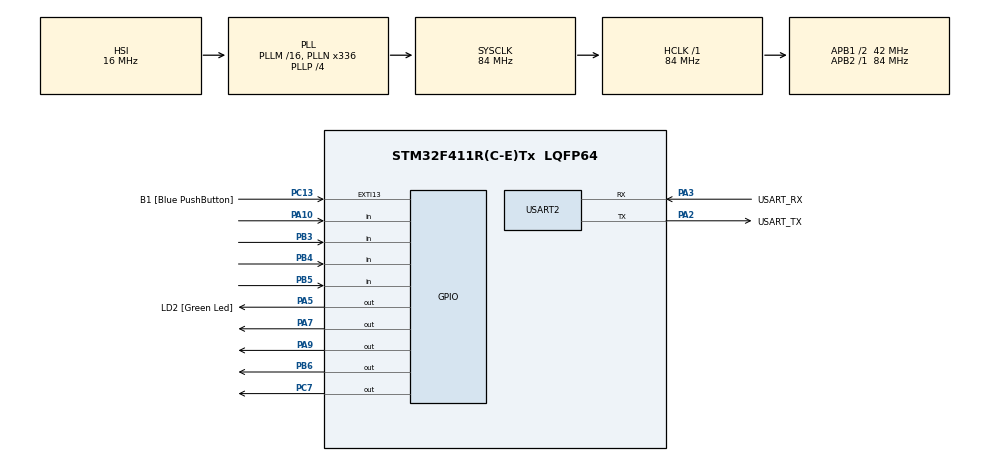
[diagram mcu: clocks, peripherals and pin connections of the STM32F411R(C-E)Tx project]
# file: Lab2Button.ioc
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Mcu.Family=STM32F4
Mcu.Name=STM32F411R(C-E)Tx
Mcu.Package=LQFP64
NVIC.PriorityGroup=NVIC_PRIORITYGROUP_0
PA10.GPIO_PuPd=GPIO_PULLUP
PA10.Signal=GPIO_Input
PA13.GPIO_Label=TMS
PA13.Mode=Serial_Wire
PA13.Signal=SYS_JTMS-SWDIO
PA14.GPIO_Label=TCK
PA14.Mode=Serial_Wire
PA14.Signal=SYS_JTCK-SWCLK
PA2.GPIO_Label=USART_TX
PA2.Mode=Asynchronous
PA2.Signal=USART2_TX
PA3.GPIO_Label=USART_RX
PA3.Mode=Asynchronous
PA3.Signal=USART2_RX
PA5.GPIO_Label=LD2 [Green Led]
PA5.Signal=GPIO_Output
PA7.GPIO_ModeDefaultOutputPP=GPIO_MODE_OUTPUT_OD
PA7.PinState=GPIO_PIN_SET
PA7.Signal=GPIO_Output
PA9.GPIO_ModeDefaultOutputPP=GPIO_MODE_OUTPUT_OD
PA9.PinState=GPIO_PIN_SET
PA9.Signal=GPIO_Output
PB3.GPIO_PuPd=GPIO_PULLUP
PB3.Signal=GPIO_Input
PB4.GPIO_PuPd=GPIO_PULLUP
PB4.Signal=GPIO_Input
PB5.GPIO_PuPd=GPIO_PULLUP
PB5.Signal=GPIO_Input
PB6.GPIO_ModeDefaultOutputPP=GPIO_MODE_OUTPUT_OD
PB6.PinState=GPIO_PIN_SET
PB6.Signal=GPIO_Output
PC13-ANTI_TAMP.GPIO_Label=B1 [Blue PushButton]
PC13-ANTI_TAMP.GPIO_ModeDefaultEXTI=GPIO_MODE_IT_FALLING
PC13-ANTI_TAMP.Signal=GPXTI13
PC14-OSC32_IN.Mode=LSE-External-Oscillator
PC14-OSC32_IN.Signal=RCC_OSC32_IN
PC15-OSC32_OUT.Mode=LSE-External-Oscillator
PC15-OSC32_OUT.Signal=RCC_OSC32_OUT
PC7.GPIO_ModeDefaultOutputPP=GPIO_MODE_OUTPUT_OD
PC7.PinState=GPIO_PIN_SET
PC7.Signal=GPIO_Output
PH0\ -\ OSC_IN.Mode=HSE-External-Clock-Source
PH0\ -\ OSC_IN.Signal=RCC_OSC_IN
PH1\ -\ OSC_OUT.Mode=HSE-External-Clock-Source
PH1\ -\ OSC_OUT.Signal=RCC_OSC_OUT
ProjectManager.HeapSize=0x200
ProjectManager.StackSize=0x400
ProjectManager.TargetToolchain=STM32CubeIDE
RCC.48MHZClocksFreq_Value=84000000
RCC.AHBFreq_Value=84000000
RCC.APB1CLKDivider=RCC_HCLK_DIV2
RCC.APB1Freq_Value=42000000
RCC.APB1TimFreq_Value=84000000
RCC.APB2Freq_Value=84000000
RCC.APB2TimFreq_Value=84000000
RCC.CortexFreq_Value=84000000
RCC.FLatency-AdvancedSettings=FLASH_LATENCY_2
RCC.HCLKFreq_Value=84000000
RCC.HSE_VALUE=8000000
RCC.HSI_VALUE=16000000
RCC.PLLN=336
RCC.PLLP=RCC_PLLP_DIV4
RCC.SYSCLKFreq_VALUE=84000000
RCC.SYSCLKSource=RCC_SYSCLKSOURCE_PLLCLK
RCC.VCOOutputFreq_Value=336000000
USART2.VirtualMode=VM_ASYNC
board=NUCLEO-F411RE

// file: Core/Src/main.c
/* USER CODE BEGIN Header */
/**
  ******************************************************************************
  * @file           : main.c
  * @brief          : Main program body
  ******************************************************************************
  * @attention
  *
  * <h2><center>&copy; Copyright (c) 2021 STMicroelectronics.
  * All rights reserved.</center></h2>
  *
  * This software component is licensed by ST under BSD 3-Clause license,
  * the "License"; You may not use this file except in compliance with the
  * License. You may obtain a copy of the License at:
  *                        opensource.org/licenses/BSD-3-Clause
  *
  ******************************************************************************
  */
/* USER CODE END Header */
#include "main.h"

UART_HandleTypeDef huart2;

/* USER CODE BEGIN PV */
uint16_t ButtonMatrixState=0;
uint32_t ButtonMatrixTimestamp=0;
enum s{
	s0=0,s1=1,s2=2,s3=3,s4=4,s5=5,s6=6,s7=7,s8=8,s9=9,s10=10,s11=11,s12=12,s13=13
};
uint8_t loop=0;
/* USER CODE END PV */

void SystemClock_Config(void);
static void MX_GPIO_Init(void);
static void MX_USART2_UART_Init(void);
/* USER CODE BEGIN PFP */
void ButtonMatrixUpdate();
/* USER CODE END PFP */

int main(void)
{

  /* MCU Configuration--------------------------------------------------------*/

  /* Reset of all peripherals, Initializes the Flash interface and the Systick. */
  HAL_Init();

  /* Configure the system clock */
  SystemClock_Config();

  /* Initialize all configured peripherals */
  MX_GPIO_Init();
  MX_USART2_UART_Init();

  /* Infinite loop */
  while (1)
  {

    /* USER CODE BEGIN 3 */
	  ButtonMatrixUpdate();
	  	  if(loop==s0)
	  	  {
switch(ButtonMatrixState)
{
case 0x40:
	ButtonMatrixState=0;
	 loop=s1;
	 break;
case 0:
	break;
case 0b1000:
	loop=s0;
	break;
default:
	loop=s12;
	break;
}

	  	  }
	  	  else if(loop==s1)
	  	  {
switch(ButtonMatrixState)
{
case 0b1000000000:
	ButtonMatrixState=0;
	 loop=s2;
case 0:
	break;
case 0b1000:
	loop=s0;
default:
	loop=s12;
}

	  	  }
	  	  else if(loop==s2)
	  	  	{

switch(ButtonMatrixState)
{
case 0b10000000000:
	ButtonMatrixState=0;
	 loop=s3;
case 0:
	break;
case 0b1000:
	loop=s0;
default:
	loop=s12;
}
	  	  	 }
	  	  else if(loop==s3)
	  	  	  {
switch(ButtonMatrixState)
{
case 0b10000:
	ButtonMatrixState=0;
   loop=s4;
case 0:
	break;
case 0b1000:
	loop=s0;
default:
	loop=s12;
}
              }
	  	  else if(loop==s4)
	  	  	  	  {
switch(ButtonMatrixState)
{
case 0b1000000000000:
	ButtonMatrixState=0;
   loop=s5;
case 0:
	break;
case 0b1000:
	loop=s0;
default:
	loop=s12;
}
	  	  	  	  }
	  	  else if(loop==s5)
	  	  	  	  {
switch(ButtonMatrixState)
{
case 0b100000:
	ButtonMatrixState=0;
   loop=s6;
case 0:
	break;
case 0b1000:
	loop=s0;
default:
	loop=s12;
}
	  	  	  	  }
	  	  else if(loop==s6)
	  	  	  	  {
switch(ButtonMatrixState)
{
case 0b1000000000000:
	ButtonMatrixState=0;
   loop=s7;
case 0:
	break;
case 0b1000:
	loop=s0;
default:
	loop=s12;
}
	  	  	  	  }
	  	  else if(loop==s7)
	  	  	  	  	  {
switch(ButtonMatrixState)
{
case 0b1000000000000:
	ButtonMatrixState=0;
   loop=s8;
case 0:
	break;
case 0b1000:
	loop=s0;
default:
	loop=s12;
}
	  	  	  	  	  }
	  	  else if(loop==s8)
	  	  	  	  {
switch(ButtonMatrixState)
{
case 0b1000000000000:
	ButtonMatrixState=0;
   loop=s9;
case 0:
	break;
case 0b1000:
	loop=s0;
default:
	loop=s12;
}
	  	  	  	  }
	  	  else if(loop==s9)
	  	  	  	  {
switch(ButtonMatrixState)
{
case 0b100000000:
	ButtonMatrixState=0;
   loop=s10;
case 0:
	break;
case 0b1000:
	loop=s0;
default:
	loop=s12;
}
	  	  	  	  }
	  	  else if(loop==s10)
	  	  	  	  	  {
switch(ButtonMatrixState)
{
case 0b100000:
	ButtonMatrixState=0;
   loop=s11;
case 0:
	break;
case 0b1000:
	loop=s0;
default:
	loop=s12;
}
	  	  	  	  	  }
	  	  else if(loop==s11)
	  	  	  	  {
switch(ButtonMatrixState)
{
case 0x8000:
	ButtonMatrixState=0;
   HAL_GPIO_WritePin(GPIOA, GPIO_PIN_5, 1);
   loop=s11;
case 0:
	break;
case 0b1000:
	HAL_GPIO_WritePin(GPIOA, GPIO_PIN_5, 0);
	loop=s0;
default:
	loop=s12;
}
	  	  	  	  }
	  	  else if(loop==s12)
	  	  {
switch(ButtonMatrixState)
{
case 0b1000:
	ButtonMatrixState=0;
	loop=s0;
default:
	loop=s13;
}
	  	  }
	  	else if(loop==s13)
	  		  	  {
switch(ButtonMatrixState)
{
case 0b1000:
	ButtonMatrixState=0;
	loop=s0;
}
	  		  	  }

  }
  /* USER CODE END 3 */
}

void SystemClock_Config(void)
{
  RCC_OscInitTypeDef RCC_OscInitStruct = {0};
  RCC_ClkInitTypeDef RCC_ClkInitStruct = {0};

  /** Configure the main internal regulator output voltage
  */
  __HAL_RCC_PWR_CLK_ENABLE();
  __HAL_PWR_VOLTAGESCALING_CONFIG(PWR_REGULATOR_VOLTAGE_SCALE1);
  /** Initializes the RCC Oscillators according to the specified parameters
  * in the RCC_OscInitTypeDef structure.
  */
  RCC_OscInitStruct.OscillatorType = RCC_OSCILLATORTYPE_HSI;
  RCC_OscInitStruct.HSIState = RCC_HSI_ON;
  RCC_OscInitStruct.HSICalibrationValue = RCC_HSICALIBRATION_DEFAULT;
  RCC_OscInitStruct.PLL.PLLState = RCC_PLL_ON;
  RCC_OscInitStruct.PLL.PLLSource = RCC_PLLSOURCE_HSI;
  RCC_OscInitStruct.PLL.PLLM = 16;
  RCC_OscInitStruct.PLL.PLLN = 336;
  RCC_OscInitStruct.PLL.PLLP = RCC_PLLP_DIV4;
  RCC_OscInitStruct.PLL.PLLQ = 4;
  if (HAL_RCC_OscConfig(&RCC_OscInitStruct) != HAL_OK)
  {
    Error_Handler();
  }
  /** Initializes the CPU, AHB and APB buses clocks
  */
  RCC_ClkInitStruct.ClockType = RCC_CLOCKTYPE_HCLK|RCC_CLOCKTYPE_SYSCLK
                              |RCC_CLOCKTYPE_PCLK1|RCC_CLOCKTYPE_PCLK2;
  RCC_ClkInitStruct.SYSCLKSource = RCC_SYSCLKSOURCE_PLLCLK;
  RCC_ClkInitStruct.AHBCLKDivider = RCC_SYSCLK_DIV1;
  RCC_ClkInitStruct.APB1CLKDivider = RCC_HCLK_DIV2;
  RCC_ClkInitStruct.APB2CLKDivider = RCC_HCLK_DIV1;

  if (HAL_RCC_ClockConfig(&RCC_ClkInitStruct, FLASH_LATENCY_2) != HAL_OK)
  {
    Error_Handler();
  }
}

static void MX_USART2_UART_Init(void)
{

  huart2.Instance = USART2;
  huart2.Init.BaudRate = 115200;
  huart2.Init.WordLength = UART_WORDLENGTH_8B;
  huart2.Init.StopBits = UART_STOPBITS_1;
  huart2.Init.Parity = UART_PARITY_NONE;
  huart2.Init.Mode = UART_MODE_TX_RX;
  huart2.Init.HwFlowCtl = UART_HWCONTROL_NONE;
  huart2.Init.OverSampling = UART_OVERSAMPLING_16;
  if (HAL_UART_Init(&huart2) != HAL_OK)
  {
    Error_Handler();
  }

}

static void MX_GPIO_Init(void)
{
  GPIO_InitTypeDef GPIO_InitStruct = {0};

  /* GPIO Ports Clock Enable */
  __HAL_RCC_GPIOC_CLK_ENABLE();
  __HAL_RCC_GPIOH_CLK_ENABLE();
  __HAL_RCC_GPIOA_CLK_ENABLE();
  __HAL_RCC_GPIOB_CLK_ENABLE();

  /*Configure GPIO pin Output Level */
  HAL_GPIO_WritePin(LD2_GPIO_Port, LD2_Pin, GPIO_PIN_RESET);

  /*Configure GPIO pin Output Level */
  HAL_GPIO_WritePin(GPIOA, GPIO_PIN_7|GPIO_PIN_9, GPIO_PIN_SET);

  /*Configure GPIO pin Output Level */
  HAL_GPIO_WritePin(GPIOC, GPIO_PIN_7, GPIO_PIN_SET);

  /*Configure GPIO pin Output Level */
  HAL_GPIO_WritePin(GPIOB, GPIO_PIN_6, GPIO_PIN_SET);

  /*Configure GPIO pin : B1_Pin */
  GPIO_InitStruct.Pin = B1_Pin;
  GPIO_InitStruct.Mode = GPIO_MODE_IT_FALLING;
  GPIO_InitStruct.Pull = GPIO_NOPULL;
  HAL_GPIO_Init(B1_GPIO_Port, &GPIO_InitStruct);

  /*Configure GPIO pins : LD2_Pin PA7 PA9 */
  GPIO_InitStruct.Pin = LD2_Pin|GPIO_PIN_7|GPIO_PIN_9;
  GPIO_InitStruct.Mode = GPIO_MODE_OUTPUT_PP;
  GPIO_InitStruct.Pull = GPIO_NOPULL;
  GPIO_InitStruct.Speed = GPIO_SPEED_FREQ_LOW;
  HAL_GPIO_Init(GPIOA, &GPIO_InitStruct);

  /*Configure GPIO pin : PC7 */
  GPIO_InitStruct.Pin = GPIO_PIN_7;
  GPIO_InitStruct.Mode = GPIO_MODE_OUTPUT_PP;
  GPIO_InitStruct.Pull = GPIO_NOPULL;
  GPIO_InitStruct.Speed = GPIO_SPEED_FREQ_LOW;
  HAL_GPIO_Init(GPIOC, &GPIO_InitStruct);

  /*Configure GPIO pin : PA10 */
  GPIO_InitStruct.Pin = GPIO_PIN_10;
  GPIO_InitStruct.Mode = GPIO_MODE_INPUT;
  GPIO_InitStruct.Pull = GPIO_PULLUP;
  HAL_GPIO_Init(GPIOA, &GPIO_InitStruct);

  /*Configure GPIO pins : PB3 PB4 PB5 */
  GPIO_InitStruct.Pin = GPIO_PIN_3|GPIO_PIN_4|GPIO_PIN_5;
  GPIO_InitStruct.Mode = GPIO_MODE_INPUT;
  GPIO_InitStruct.Pull = GPIO_PULLUP;
  HAL_GPIO_Init(GPIOB, &GPIO_InitStruct);

  /*Configure GPIO pin : PB6 */
  GPIO_InitStruct.Pin = GPIO_PIN_6;
  GPIO_InitStruct.Mode = GPIO_MODE_OUTPUT_PP;
  GPIO_InitStruct.Pull = GPIO_NOPULL;
  GPIO_InitStruct.Speed = GPIO_SPEED_FREQ_LOW;
  HAL_GPIO_Init(GPIOB, &GPIO_InitStruct);

}

/* USER CODE BEGIN 4 */
GPIO_TypeDef* ButtonMatrixPort[8]={GPIOA,GPIOB,GPIOB,GPIOB,GPIOA,GPIOC,GPIOB,GPIOA};
uint16_t ButtonMatrixPin[8]={GPIO_PIN_10,GPIO_PIN_3,GPIO_PIN_5,GPIO_PIN_4,GPIO_PIN_9,
		GPIO_PIN_7,GPIO_PIN_6,GPIO_PIN_7};
uint8_t ButtonMatrixRow=0;
void ButtonMatrixUpdate()
{
	if(HAL_GetTick()-ButtonMatrixTimestamp>=100)
	{
		ButtonMatrixTimestamp=HAL_GetTick();
		int i;
		for(i=0 ; i<4 ; i+=1)
		{
			GPIO_PinState PinState= HAL_GPIO_ReadPin(ButtonMatrixPort[i], ButtonMatrixPin[i]);
			if(PinState==GPIO_PIN_RESET)
			{
				ButtonMatrixState |= (uint16_t)1<<(i+ButtonMatrixRow*4);
			}
			else
			{
				ButtonMatrixState &= ~((uint16_t)1<<(i+ButtonMatrixRow*4));
			}
		}
		uint8_t NowOutputPin=ButtonMatrixRow+4;
		HAL_GPIO_WritePin(ButtonMatrixPort[NowOutputPin], ButtonMatrixPin[NowOutputPin], GPIO_PIN_SET);

		ButtonMatrixRow=(ButtonMatrixRow+1)%4;

		uint8_t NextOutputPin=ButtonMatrixRow+4;
		HAL_GPIO_WritePin(ButtonMatrixPort[NextOutputPin], ButtonMatrixPin[NextOutputPin], GPIO_PIN_RESET);

	}
}
/* USER CODE END 4 */

void Error_Handler(void)
{
  __disable_irq();
  while (1)
  {
  }
}

/************************ (C) COPYRIGHT STMicroelectronics *****END OF FILE****/
